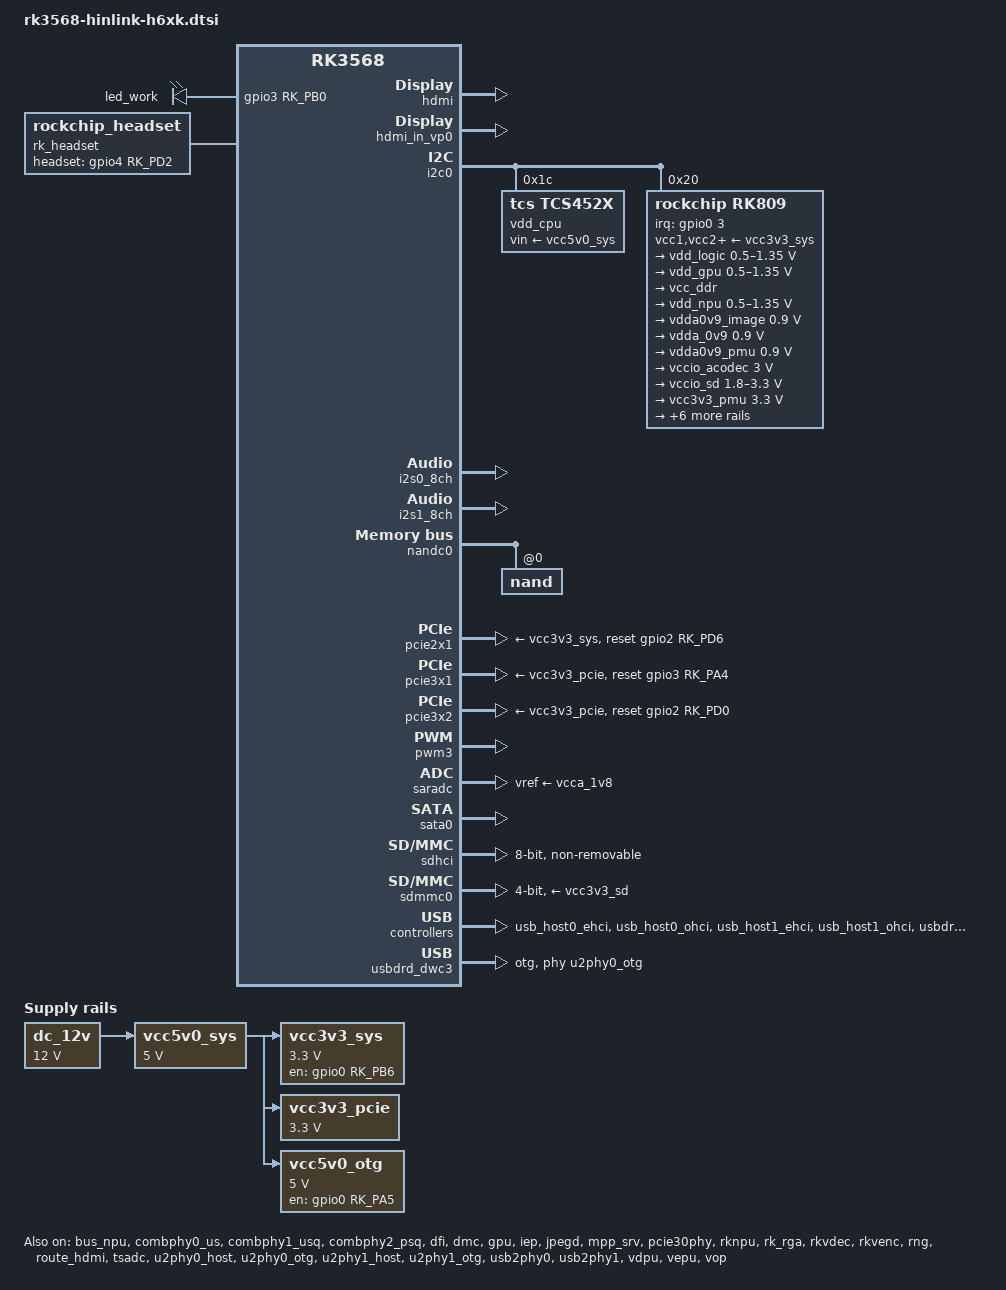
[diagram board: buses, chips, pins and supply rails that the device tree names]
// SPDX-License-Identifier: (GPL-2.0+ OR MIT)
/*
 * Copyright (c) 2020 Rockchip Electronics Co., Ltd.
 *
 */

#include <dt-bindings/gpio/gpio.h>
#include <dt-bindings/pwm/pwm.h>
#include <dt-bindings/pinctrl/rockchip.h>
#include <dt-bindings/input/rk-input.h>
#include <dt-bindings/display/drm_mipi_dsi.h>
#include <dt-bindings/display/rockchip_vop.h>
#include <dt-bindings/sensor-dev.h>
#include "rk3568.dtsi"

/ {
	cspmu: cspmu@fd90c000 {
		compatible = "rockchip,cspmu";
		reg = <0x0 0xfd90c000 0x0 0x1000>,
			<0x0 0xfd90d000 0x0 0x1000>,
			<0x0 0xfd90e000 0x0 0x1000>,
			<0x0 0xfd90f000 0x0 0x1000>;
	};

	dc_12v: dc-12v {
		compatible = "regulator-fixed";
		regulator-name = "dc_12v";
		regulator-always-on;
		regulator-boot-on;
		regulator-min-microvolt = <12000000>;
		regulator-max-microvolt = <12000000>;
	};

	debug: debug@fd904000 {
		compatible = "rockchip,debug";
		reg = <0x0 0xfd904000 0x0 0x1000>,
			<0x0 0xfd905000 0x0 0x1000>,
			<0x0 0xfd906000 0x0 0x1000>,
			<0x0 0xfd907000 0x0 0x1000>;
	};

	fiq-debugger {
		compatible = "rockchip,fiq-debugger";
		rockchip,serial-id = <2>;
		rockchip,wake-irq = <0>;
		/* If enable uart uses irq instead of fiq */
		rockchip,irq-mode-enable = <1>;
		rockchip,baudrate = <1500000>;  /* Only 115200 and 1500000 */
		interrupts = <GIC_SPI 252 IRQ_TYPE_LEVEL_LOW>;
		pinctrl-names = "default";
		pinctrl-0 = <&uart2m0_xfer>;
		status = "okay";
	};

	hdmi_sound: hdmi-sound {
		compatible = "simple-audio-card";
		simple-audio-card,format = "i2s";
		simple-audio-card,mclk-fs = <128>;
		simple-audio-card,name = "rockchip,hdmi";
		simple-audio-card,cpu {
				sound-dai = <&i2s0_8ch>;
		};
		simple-audio-card,codec {
				sound-dai = <&hdmi>;
		};
	};

	leds {
		compatible = "gpio-leds";
		pinctrl-names = "default";
		pinctrl-0 = <&led_work_en>;
		led_work: work {
			gpios = <&gpio3 RK_PB0 GPIO_ACTIVE_HIGH>;
			linux,default-trigger = "heartbeat";
		};
	};

	rk809_sound: rk809-sound {
		compatible = "simple-audio-card";
		simple-audio-card,format = "i2s";
		simple-audio-card,name = "rockchip,rk809-codec";
		simple-audio-card,mclk-fs = <256>;

		simple-audio-card,cpu {
			sound-dai = <&i2s1_8ch>;
		};
		simple-audio-card,codec {
			sound-dai = <&rk809_codec>;
		};
        };

	rk_headset: rk-headset {
		compatible = "rockchip_headset";
		headset_gpio = <&gpio4 RK_PD2 GPIO_ACTIVE_HIGH>;
		pinctrl-names = "default";
		pinctrl-0 = <&hp_det>;
	};

	vcc5v0_sys: vcc5v0-sys {
		compatible = "regulator-fixed";
		regulator-name = "vcc5v0_sys";
		regulator-always-on;
		regulator-boot-on;
		regulator-min-microvolt = <5000000>;
		regulator-max-microvolt = <5000000>;
		vin-supply = <&dc_12v>;
	};

	vcc3v3_sys: vcc3v3-sys {
		compatible = "regulator-fixed";
		regulator-name = "vcc3v3_sys";
		regulator-always-on;
		regulator-boot-on;
		regulator-min-microvolt = <3300000>;
		regulator-max-microvolt = <3300000>;
		enable-active-high;
		gpio = <&gpio0 RK_PB6 GPIO_ACTIVE_HIGH>;
		pinctrl-names = "default";
		pinctrl-0 = <&vcc3v3_sys_en>;
		vin-supply = <&vcc5v0_sys>;
        };

	vcc3v3_pcie: vcc3v3-pcie {
		compatible = "regulator-fixed";
		enable-active-high;
		regulator-min-microvolt = <3300000>;
		regulator-max-microvolt = <3300000>;
		regulator-name = "vcc3v3_pcie";
		startup-delay-us = <5000>;
		vin-supply = <&vcc5v0_sys>;
	};

	vcc5v0_otg: vcc5v0-otg-regulator {
		compatible = "regulator-fixed";
		regulator-name = "vcc5v0_otg";
		regulator-min-microvolt = <5000000>;
		regulator-max-microvolt = <5000000>;
		enable-active-high;
		gpio = <&gpio0 RK_PA5 GPIO_ACTIVE_HIGH>;
		vin-supply = <&vcc5v0_sys>;
		pinctrl-names = "default";
		pinctrl-0 = <&vcc5v0_otg_en>;
	};
};

&bus_npu {
	bus-supply = <&vdd_logic>;
	pvtm-supply = <&vdd_cpu>;
	status = "okay";
};

&combphy0_us {
	status = "okay";
};

&combphy1_usq {
	status = "okay";
};

&combphy2_psq {
	status = "okay";
};

&cpu0 {
	cpu-supply = <&vdd_cpu>;
};

&dfi {
	status = "okay";
};

&dmc {
	center-supply = <&vdd_logic>;
	status = "okay";
};

&gpu {
	clock-names = "gpu", "bus";
	interrupt-names = "gpu", "mmu", "job";
	mali-supply = <&vdd_gpu>;
	status = "okay";
};

&hdmi {
	status = "okay";
	rockchip,phy-table =
		<92812500  0x8009 0x0000 0x0270>,
		<165000000 0x800b 0x0000 0x026d>,
		<185625000 0x800b 0x0000 0x01ed>,
		<297000000 0x800b 0x0000 0x01ad>,
		<594000000 0x8029 0x0000 0x0088>,
		<000000000 0x0000 0x0000 0x0000>;
};

&hdmi_in_vp0 {
	status = "okay";
};

&hdmi_in_vp1 {
	status = "disabled";
};

&i2c0 {
	status = "okay";

	vdd_cpu: tcs4525@1c {
		compatible = "tcs,tcs452x";
		reg = <0x1c>;
		vin-supply = <&vcc5v0_sys>;
		regulator-compatible = "fan53555-reg";
		regulator-name = "vdd_cpu";
		regulator-min-microvolt = <712500>;
		regulator-max-microvolt = <1390000>;
		regulator-init-microvolt = <900000>;
		regulator-initial-mode = <1>;
		regulator-ramp-delay = <2300>;
		fcs,suspend-voltage-selector = <1>;
		regulator-boot-on;
		regulator-always-on;
		regulator-state-mem {
			regulator-off-in-suspend;
		};
	};

	rk809: pmic@20 {
		compatible = "rockchip,rk809";
		reg = <0x20>;
		interrupt-parent = <&gpio0>;
		interrupts = <3 IRQ_TYPE_LEVEL_LOW>;

		pinctrl-names = "default", "pmic-sleep",
				"pmic-power-off", "pmic-reset";
		pinctrl-0 = <&pmic_int>;
		pinctrl-1 = <&soc_slppin_slp>, <&rk817_slppin_slp>;
		pinctrl-2 = <&soc_slppin_gpio>, <&rk817_slppin_pwrdn>;
		pinctrl-3 = <&soc_slppin_gpio>, <&rk817_slppin_rst>;

		rockchip,system-power-controller;
		wakeup-source;
		#clock-cells = <1>;
		clock-output-names = "rk808-clkout1", "rk808-clkout2";
		//fb-inner-reg-idxs = <2>;
		/* 1: rst regs (default in codes), 0: rst the pmic */
		pmic-reset-func = <0>;
		/* not save the PMIC_POWER_EN register in uboot */
		not-save-power-en = <1>;

		vcc1-supply = <&vcc3v3_sys>;
		vcc2-supply = <&vcc3v3_sys>;
		vcc3-supply = <&vcc3v3_sys>;
		vcc4-supply = <&vcc3v3_sys>;
		vcc5-supply = <&vcc3v3_sys>;
		vcc6-supply = <&vcc3v3_sys>;
		vcc7-supply = <&vcc3v3_sys>;
		vcc8-supply = <&vcc3v3_sys>;
		vcc9-supply = <&vcc3v3_sys>;

		pwrkey {
			status = "okay";
		};

		pinctrl_rk8xx: pinctrl_rk8xx {
			gpio-controller;
			#gpio-cells = <2>;

			rk817_slppin_null: rk817_slppin_null {
				pins = "gpio_slp";
				function = "pin_fun0";
			};

			rk817_slppin_slp: rk817_slppin_slp {
				pins = "gpio_slp";
				function = "pin_fun1";
			};

			rk817_slppin_pwrdn: rk817_slppin_pwrdn {
				pins = "gpio_slp";
				function = "pin_fun2";
			};

			rk817_slppin_rst: rk817_slppin_rst {
				pins = "gpio_slp";
				function = "pin_fun3";
			};
		};

		regulators {
			vdd_logic: DCDC_REG1 {
				regulator-always-on;
				regulator-boot-on;
				regulator-min-microvolt = <500000>;
				regulator-max-microvolt = <1350000>;
				regulator-init-microvolt = <900000>;
				regulator-ramp-delay = <6001>;
				regulator-initial-mode = <0x2>;
				regulator-name = "vdd_logic";
				regulator-state-mem {
					regulator-off-in-suspend;
				};
			};

			vdd_gpu: DCDC_REG2 {
				regulator-always-on;
				regulator-boot-on;
				regulator-min-microvolt = <500000>;
				regulator-max-microvolt = <1350000>;
				regulator-init-microvolt = <900000>;
				regulator-ramp-delay = <6001>;
				regulator-initial-mode = <0x2>;
				regulator-name = "vdd_gpu";
				regulator-state-mem {
					regulator-off-in-suspend;
				};
			};

			vcc_ddr: DCDC_REG3 {
				regulator-always-on;
				regulator-boot-on;
				regulator-initial-mode = <0x2>;
				regulator-name = "vcc_ddr";
				regulator-state-mem {
					regulator-on-in-suspend;
				};
			};

			vdd_npu: DCDC_REG4 {
				regulator-always-on;
				regulator-boot-on;
				regulator-min-microvolt = <500000>;
				regulator-max-microvolt = <1350000>;
				regulator-init-microvolt = <900000>;
				regulator-ramp-delay = <6001>;
				regulator-initial-mode = <0x2>;
				regulator-name = "vdd_npu";
				regulator-state-mem {
					regulator-off-in-suspend;
				};
			};

			vdda0v9_image: LDO_REG1 {
				regulator-boot-on;
				regulator-always-on;
				regulator-min-microvolt = <900000>;
				regulator-max-microvolt = <900000>;
				regulator-name = "vdda0v9_image";
				regulator-state-mem {
					regulator-off-in-suspend;
				};
			};

			vdda_0v9: LDO_REG2 {
				regulator-always-on;
				regulator-boot-on;
				regulator-min-microvolt = <900000>;
				regulator-max-microvolt = <900000>;
				regulator-name = "vdda_0v9";
				regulator-state-mem {
					regulator-off-in-suspend;
				};
			};

			vdda0v9_pmu: LDO_REG3 {
				regulator-always-on;
				regulator-boot-on;
				regulator-min-microvolt = <900000>;
				regulator-max-microvolt = <900000>;
				regulator-name = "vdda0v9_pmu";
				regulator-state-mem {
					regulator-on-in-suspend;
					regulator-suspend-microvolt = <900000>;
				};
			};

			vccio_acodec: LDO_REG4 {
				regulator-always-on;
				regulator-boot-on;
				regulator-min-microvolt = <3000000>;
				regulator-max-microvolt = <3000000>;
				regulator-name = "vccio_acodec";
				regulator-state-mem {
					regulator-off-in-suspend;
				};
			};

			vccio_sd: LDO_REG5 {
				regulator-always-on;
				regulator-boot-on;
				regulator-min-microvolt = <1800000>;
				regulator-max-microvolt = <3300000>;
				regulator-name = "vccio_sd";
				regulator-state-mem {
					regulator-off-in-suspend;
				};
			};

			vcc3v3_pmu: LDO_REG6 {
				regulator-always-on;
				regulator-boot-on;
				regulator-min-microvolt = <3300000>;
				regulator-max-microvolt = <3300000>;
				regulator-name = "vcc3v3_pmu";
				regulator-state-mem {
					regulator-on-in-suspend;
					regulator-suspend-microvolt = <3300000>;
				};
			};

			vcca_1v8: LDO_REG7 {
				regulator-always-on;
				regulator-boot-on;
				regulator-min-microvolt = <1800000>;
				regulator-max-microvolt = <1800000>;
				regulator-name = "vcca_1v8";
				regulator-state-mem {
					regulator-off-in-suspend;
				};
			};

			vcca1v8_pmu: LDO_REG8 {
				regulator-always-on;
				regulator-boot-on;
				regulator-min-microvolt = <1800000>;
				regulator-max-microvolt = <1800000>;
				regulator-name = "vcca1v8_pmu";
				regulator-state-mem {
					regulator-on-in-suspend;
					regulator-suspend-microvolt = <1800000>;
				};
			};

			vcca1v8_image: LDO_REG9 {
				regulator-always-on;
				regulator-boot-on;
				regulator-min-microvolt = <1800000>;
				regulator-max-microvolt = <1800000>;
				regulator-name = "vcca1v8_image";
				regulator-state-mem {
					regulator-off-in-suspend;
				};
			};

			vcc_1v8: DCDC_REG5 {
				regulator-always-on;
				regulator-boot-on;
				regulator-min-microvolt = <1800000>;
				regulator-max-microvolt = <1800000>;
				regulator-name = "vcc_1v8";
				regulator-state-mem {
					regulator-off-in-suspend;
				};
			};

			vcc_3v3: SWITCH_REG1 {
				regulator-always-on;
				regulator-boot-on;
				regulator-name = "vcc_3v3";
				regulator-state-mem {
					regulator-off-in-suspend;
				};
			};

			vcc3v3_sd: SWITCH_REG2 {
				regulator-always-on;
				regulator-boot-on;
				regulator-name = "vcc3v3_sd";
				regulator-state-mem {
					regulator-off-in-suspend;
				};
			};
		};

		rk809_codec: codec {
			#sound-dai-cells = <0>;
			compatible = "rockchip,rk809-codec", "rockchip,rk817-codec";
			clocks = <&cru I2S1_MCLKOUT>;
			clock-names = "mclk";
			assigned-clocks = <&cru I2S1_MCLKOUT>, <&cru I2S1_MCLK_TX_IOE>;
			assigned-clock-rates = <12288000>;
			assigned-clock-parents = <&cru I2S1_MCLKOUT_TX>, <&cru I2S1_MCLKOUT_TX>;
			pinctrl-names = "default";
			pinctrl-0 = <&i2s1m0_mclk>;
			hp-volume = <20>;
			spk-volume = <3>;
			mic-in-differential;
			status = "okay";
		};
	};
};

&i2s0_8ch {
	status = "okay";
};

&i2s1_8ch {
	status = "okay";
	rockchip,clk-trcm = <1>;
	pinctrl-names = "default";
	pinctrl-0 = <&i2s1m0_sclktx
		     &i2s1m0_lrcktx
		     &i2s1m0_sdi0
		     &i2s1m0_sdo0>;
};

&iep {
	status = "okay";
};

&iep_mmu {
	status = "okay";
};

&jpegd {
	status = "okay";
};

&jpegd_mmu {
	status = "okay";
};

&mpp_srv {
	status = "okay";
};

&nandc0 {
	#address-cells = <1>;
	#size-cells = <0>;
	status = "okay";

	nand@0 {
		reg = <0>;
		nand-bus-width = <8>;
		nand-ecc-mode = "hw";
		nand-ecc-strength = <16>;
		nand-ecc-step-size = <1024>;
	};
};

&pcie2x1 {
	reset-gpios = <&gpio2 RK_PD6 GPIO_ACTIVE_HIGH>;
	vpcie3v3-supply = <&vcc3v3_sys>;
	status = "okay";
};

&pcie30phy {
	status = "okay";
};

&pcie3x1 {
	rockchip,bifurcation;
	reset-gpios = <&gpio3 RK_PA4 GPIO_ACTIVE_HIGH>;
	vpcie3v3-supply = <&vcc3v3_pcie>;
	status = "okay";

	pcie@0,0 {
		reg = <0x00100000 0 0 0 0>;
		#address-cells = <3>;
		#size-cells = <2>;

		rtl8125_1: pcie@10,0 {
			reg = <0x000000 0 0 0 0>;
		};
	};
};

&pcie3x2 {
	rockchip,bifurcation;
	rockchip,init-delay-ms = <100>;
	reset-gpios = <&gpio2 RK_PD0 GPIO_ACTIVE_HIGH>;
	vpcie3v3-supply = <&vcc3v3_pcie>;
	status = "okay";

	pcie@0,0 {
		reg = <0x00200000 0 0 0 0>;
		#address-cells = <3>;
		#size-cells = <2>;

		rtl8125_2: pcie@20,0 {
			reg = <0x000000 0 0 0 0>;
		};
	};
};

&pinctrl {
	headphone {
		hp_det: hp-det {
			rockchip,pins = <4 RK_PD2 RK_FUNC_GPIO &pcfg_pull_up>;
		};
	};

	leds {
		led_work_en: led-work-en {
			rockchip,pins =
				<3 RK_PB0 RK_FUNC_GPIO &pcfg_pull_up>;
		};
	};

	pmic {
		pmic_int: pmic_int {
			rockchip,pins =
				<0 RK_PA3 RK_FUNC_GPIO &pcfg_pull_up>;
		};

		soc_slppin_gpio: soc_slppin_gpio {
			rockchip,pins =
				<0 RK_PA2 RK_FUNC_GPIO &pcfg_output_low>;
		};

		soc_slppin_slp: soc_slppin_slp {
			rockchip,pins =
				<0 RK_PA2 1 &pcfg_pull_none>;
		};

		soc_slppin_rst: soc_slppin_rst {
			rockchip,pins =
				<0 RK_PA2 2 &pcfg_pull_none>;
		};
	};

	usb {
		vcc5v0_otg_en: vcc5v0-otg-en {
			rockchip,pins = <0 RK_PA5 RK_FUNC_GPIO &pcfg_pull_none>;
		};
	};

	vcc {
		vcc3v3_sys_en: vcc3v3-sys-en {
			rockchip,pins = <0 RK_PB6 RK_FUNC_GPIO &pcfg_pull_none>;
		};
	};
};

&pmu_io_domains {
	status = "okay";
	pmuio1-supply = <&vcc3v3_pmu>;
	pmuio2-supply = <&vcc3v3_pmu>;
	vccio1-supply = <&vccio_acodec>;
	vccio2-supply = <&vcc_1v8>;
	vccio3-supply = <&vccio_sd>;
	vccio4-supply = <&vcc_1v8>;
	vccio5-supply = <&vcc_3v3>;
	vccio6-supply = <&vcc_1v8>;
	vccio7-supply = <&vcc_3v3>;
};

&pwm3 {
	status = "okay";

	compatible = "rockchip,remotectl-pwm";
	remote_pwm_id = <3>;
	handle_cpu_id = <1>;
	remote_support_psci = <0>;
	pinctrl-names = "default";
	pinctrl-0 = <&pwm3_pins>;

	ir_key1 {
		rockchip,usercode = <0x4040>;
		rockchip,key_table =
			<0xf2   KEY_REPLY>,
			<0xba   KEY_BACK>,
			<0xf4   KEY_UP>,
			<0xf1   KEY_DOWN>,
			<0xef   KEY_LEFT>,
			<0xee   KEY_RIGHT>,
			<0xbd   KEY_HOME>,
			<0xea   KEY_VOLUMEUP>,
			<0xe3   KEY_VOLUMEDOWN>,
			<0xe2   KEY_SEARCH>,
			<0xb2   KEY_POWER>,
			<0xbc   KEY_MUTE>,
			<0xec   KEY_MENU>,
			<0xbf   0x190>,
			<0xe0   0x191>,
			<0xe1   0x192>,
			<0xe9   183>,
			<0xe6   248>,
			<0xe8   185>,
			<0xe7   186>,
			<0xf0   388>,
			<0xbe   0x175>;
	};

	ir_key2 {
		rockchip,usercode = <0xff00>;
		rockchip,key_table =
			<0xf9   KEY_HOME>,
			<0xbf   KEY_BACK>,
			<0xfb   KEY_MENU>,
			<0xaa   KEY_REPLY>,
			<0xb9   KEY_UP>,
			<0xe9   KEY_DOWN>,
			<0xb8   KEY_LEFT>,
			<0xea   KEY_RIGHT>,
			<0xeb   KEY_VOLUMEDOWN>,
			<0xef   KEY_VOLUMEUP>,
			<0xf7   KEY_MUTE>,
			<0xe7   KEY_POWER>,
			<0xfc   KEY_POWER>,
			<0xa9   KEY_VOLUMEDOWN>,
			<0xa8   KEY_VOLUMEDOWN>,
			<0xe0   KEY_VOLUMEDOWN>,
			<0xa5   KEY_VOLUMEDOWN>,
			<0xab   183>,
			<0xb7   388>,
			<0xe8   388>,
			<0xf8   184>,
			<0xaf   185>,
			<0xed   KEY_VOLUMEDOWN>,
			<0xee   186>,
			<0xb3   KEY_VOLUMEDOWN>,
			<0xf1   KEY_VOLUMEDOWN>,
			<0xf2   KEY_VOLUMEDOWN>,
			<0xf3   KEY_SEARCH>,
			<0xb4   KEY_VOLUMEDOWN>,
			<0xbe   KEY_SEARCH>;
	};

	ir_key3 {
		rockchip,usercode = <0x1dcc>;
		rockchip,key_table =
			<0xee   KEY_REPLY>,
			<0xf0   KEY_BACK>,
			<0xf8   KEY_UP>,
			<0xbb   KEY_DOWN>,
			<0xef   KEY_LEFT>,
			<0xed   KEY_RIGHT>,
			<0xfc   KEY_HOME>,
			<0xf1   KEY_VOLUMEUP>,
			<0xfd   KEY_VOLUMEDOWN>,
			<0xb7   KEY_SEARCH>,
			<0xff   KEY_POWER>,
			<0xf3   KEY_MUTE>,
			<0xbf   KEY_MENU>,
			<0xf9   0x191>,
			<0xf5   0x192>,
			<0xb3   388>,
			<0xbe   KEY_1>,
			<0xba   KEY_2>,
			<0xb2   KEY_3>,
			<0xbd   KEY_4>,
			<0xf9   KEY_5>,
			<0xb1   KEY_6>,
			<0xfc   KEY_7>,
			<0xf8   KEY_8>,
			<0xb0   KEY_9>,
			<0xb6   KEY_0>,
			<0xb5   KEY_BACKSPACE>;
	};

	ir_key4 {
		rockchip,usercode = <0xdd22>;
		rockchip,key_table =
			<0x23   KEY_POWER>,
			<0x63   KEY_MUTE>,
			<0x35   KEY_UP>,
			<0x2d   KEY_DOWN>,
			<0x66   KEY_LEFT>,
			<0x3e   KEY_RIGHT>,
			<0x31   KEY_ENTER>,
			<0x6a   KEY_ESC>,
			<0x7d   KEY_MENU>,
			<0x7f   KEY_VOLUMEUP>,
			<0x7e   KEY_VOLUMEDOWN>,
			<0x77   KEY_HOME>;
	};
};

&reserved_memory {
	ramoops: ramoops@110000 {
		compatible = "ramoops";
		reg = <0x0 0x110000 0x0 0xf0000>;
		record-size = <0x20000>;
		console-size = <0x80000>;
		ftrace-size = <0x00000>;
		pmsg-size = <0x50000>;
	};

	rknpu_reserved: rknpu {
		compatible = "shared-dma-pool";
		inactive;
		reusable;
		size = <0x0 0x20000000>;
		alignment = <0x0 0x1000>;
	};
};

&rknpu {
	memory-region = <&rknpu_reserved>;
	rknpu-supply = <&vdd_npu>;
	status = "okay";
};

&rknpu_mmu {
	status = "okay";
};

&rk_rga {
	status = "okay";
};

&rkvdec {
	status = "okay";
};

&rkvdec_mmu {
	status = "okay";
};

&rkvenc {
	venc-supply = <&vdd_logic>;
	status = "okay";
};

&rkvenc_mmu {
	status = "okay";
};

&rng {
	status = "okay";
};

&rockchip_suspend {
	status = "okay";
};

&route_hdmi {
	status = "okay";
	connect = <&vp0_out_hdmi>;
};

&saradc {
	status = "okay";
	vref-supply = <&vcca_1v8>;
};

&sata0 {
	status = "okay";
};

&sdhci {
	bus-width = <8>;
	non-removable;
	max-frequency = <200000000>;
	status = "okay";
};

&sdmmc0 {
	max-frequency = <150000000>;
	supports-sd;
	bus-width = <4>;
	cap-mmc-highspeed;
	cap-sd-highspeed;
	sd-uhs-sdr104;
	disable-wp;
	vmmc-supply = <&vcc3v3_sd>;
	vqmmc-supply = <&vccio_sd>;
	pinctrl-names = "default";
	pinctrl-0 = <&sdmmc0_bus4 &sdmmc0_clk &sdmmc0_cmd &sdmmc0_det>;
	status = "okay";
};

&tsadc {
	status = "okay";
};

&u2phy0_host {
	phy-supply = <&vcc5v0_otg>;
	status = "okay";
};

&u2phy0_otg {
	vbus-supply = <&vcc5v0_otg>;
	status = "okay";
};

&u2phy1_host {
	phy-supply = <&vcc5v0_otg>;
	status = "okay";
};

&u2phy1_otg {
	phy-supply = <&vcc5v0_otg>;
	status = "okay";
};

&usb2phy0 {
	status = "okay";
};

&usb2phy1 {
	status = "okay";
};

&usb_host0_ehci {
	status = "okay";
};

&usb_host0_ohci {
	status = "okay";
};

&usb_host1_ehci {
	status = "okay";
};

&usb_host1_ohci {
	status = "okay";
};

&usbdrd_dwc3 {
	dr_mode = "otg";
	extcon = <&usb2phy0>;
	phys = <&u2phy0_otg>;
	status = "okay";
};

&usbdrd30 {
	status = "okay";
};

&usbhost_dwc3 {
	status = "okay";
};

&usbhost30 {
	status = "okay";
};

&vdpu {
	status = "okay";
};

&vdpu_mmu {
	status = "okay";
};

&vepu {
	status = "okay";
};

&vepu_mmu {
	status = "okay";
};

&vop {
	status = "okay";
	assigned-clocks = <&cru DCLK_VOP0>, <&cru DCLK_VOP1>;
	assigned-clock-parents = <&pmucru PLL_HPLL>, <&cru PLL_VPLL>;
	support-multi-area;
};

&vop_mmu {
	status = "okay";
};

&vp0 {
	rockchip,plane-mask = <(1 << ROCKCHIP_VOP2_CLUSTER0 | 1 << ROCKCHIP_VOP2_ESMART0)>;
	rockchip,primary-plane = <ROCKCHIP_VOP2_ESMART0>;
};

&vp1 {
	rockchip,plane-mask = <(1 << ROCKCHIP_VOP2_CLUSTER1 | 1 << ROCKCHIP_VOP2_ESMART1)>;
	rockchip,primary-plane = <ROCKCHIP_VOP2_ESMART1>;
};
